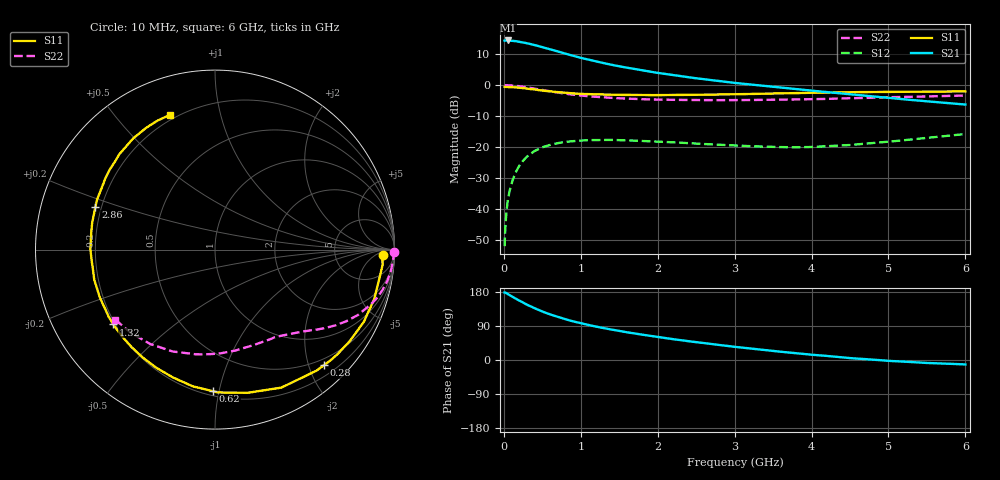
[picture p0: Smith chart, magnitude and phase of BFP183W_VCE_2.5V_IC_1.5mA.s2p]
! Infineon Technologies  Discrete & RF Semiconductors
! BFP183W
! VCE = 2.5 V,  IC =  1.5 mA
! Common Emitter S-Parameters:  Jan 2016
# GHz  S  MA  R  50
!  f  S11  S21  S12  S22
! GHz  MAG  ANG  MAG  ANG  MAG  ANG  MAG  ANG
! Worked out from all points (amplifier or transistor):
!   210 points, 10 MHz to 6 GHz, reference 50 ohm
!   highest |S21| = 14.4 dB at 50 MHz (marker M1)
!   |S21| within 3 dB of that: start of sweep to 621.9 MHz
!   unconditionally stable (mu >= 1): 2.515 GHz to end of sweep
!   at 185 MHz: K = 0.08, MSG = 20.4 dB, |S12| = -26.7 dB
!   at 1.52 GHz: K = 0.60, MSG = 11.9 dB, |S12| = -17.8 dB
!   at 6 GHz: K = 1.05, MAG = 3.5 dB, |S12| = -15.8 dB
!   S11 on the Smith chart (normalised r, x): 10 MHz: 25, -12; 280 MHz: 0.38, -2.26; 620 MHz: 0.23, -0.96; 1.32 GHz: 0.19, -0.32; 2.86 GHz: 0.18, +0.17; 6 GHz: 0.18, +0.70
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0.01  0.9373 -1.8  5.222 178.2  0.0025 89.9  0.9981 -0.7
0.015  0.9359 -2.6  5.243 178.0  0.0038 88.5  0.9943 -1.0
0.025  0.936 -4.4  5.262 177.3  0.0064 87.4  0.9933 -1.8
0.05  0.9315 -8.7  5.265 174.2  0.0133 84.7  0.9938 -3.5
0.09  0.9277 -15.7  5.213 169.6  0.0231 80.5  0.988 -6.2
0.15  0.9217 -25.9  5.144 162.4  0.0379 74.5  0.9754 -10.4
0.2  0.9075 -34.3  5.034 156.7  0.0495 70.1  0.9597 -13.6
0.28  0.8847 -46.8  4.807 148.3  0.0659 62.6  0.9286 -18.3
0.4  0.8533 -64.3  4.446 136.6  0.0863 52.9  0.8766 -24.5
0.5  0.8183 -77.2  4.108 127.8  0.099 46.1  0.8336 -28.6
0.62  0.7892 -90.9  3.733 119.1  0.1099 39.1  0.7856 -32.7
0.8  0.75 -108.2  3.219 107.5  0.121 30.8  0.727 -37.7
0.9  0.7349 -116.5  2.99 101.9  0.1246 27.0  0.7002 -39.9
1.02  0.7209 -125.2  2.72 96.2  0.1274 23.0  0.6753 -42.4
1.32  0.7032 -143.6  2.236 83.3  0.1302 15.4  0.6313 -47.9
1.6  0.6947 -157.4  1.913 73.1  0.1283 10.7  0.6046 -52.6
2.02  0.6895 -174.1  1.564 60.3  0.1225 6.5  0.583 -59.8
2.86  0.7075 160.4  1.138 38.2  0.1079 5.6  0.5716 -75.6
3.1  0.7152 154.4  1.055 32.6  0.1044 7.2  0.5736 -80.6
4.1  0.7546 133.3  0.792 12.4  0.1016 20.3  0.5954 -103.1
5.1  0.7804 118.3  0.606 -3.2  0.1251 31.9  0.6402 -126.7
6  0.7916 108.6  0.485 -11.7  0.1618 34.5  0.6787 -144.8
